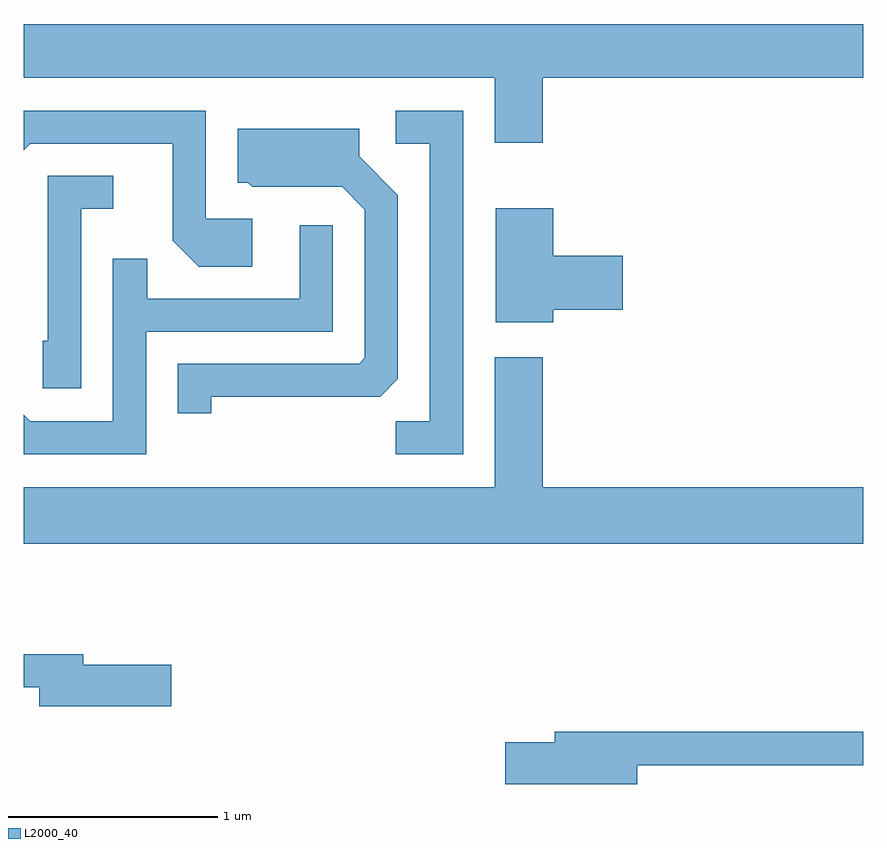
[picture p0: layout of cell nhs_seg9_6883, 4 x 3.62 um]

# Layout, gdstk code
import gdstk
lib = gdstk.Library(unit=1e-6, precision=1e-09)
def P(c, l, *ps):  # polygons
    for p in ps: c.add(gdstk.Polygon(p, *l))
L2000_40 = (2000, 40)

nhs_seg9_6883 = lib.new_cell('nhs_seg9_6883')
P(nhs_seg9_6883, L2000_40, [(387.611,2076.176),(389.856,2076.176),(389.856,2075.866),(390.084,2075.866),(390.084,2076.176),(391.611,2076.176),(391.611,2076.432),(387.611,2076.432)],
  [(388.699,2075.504),(388.479,2075.504),(388.479,2076.019),(387.611,2076.019),(387.611,2075.83),(387.642,2075.861),(388.321,2075.861),(388.321,2075.399),(388.444,2075.276),(388.699,2075.276)],
  [(389.704,2076.019),(389.383,2076.019),(389.383,2075.861),(389.546,2075.861),(389.546,2074.539),(389.383,2074.539),(389.383,2074.381),(389.704,2074.381)],
  [(388.504,2074.656),(389.309,2074.656),(389.394,2074.742),(389.394,2075.617),(389.209,2075.802),(389.209,2075.934),(388.631,2075.934),(388.631,2075.676),(388.679,2075.676),(388.699,2075.656),(389.129,2075.656),(389.236,2075.548),(389.236,2074.842),(389.209,2074.814),(388.346,2074.814),(388.346,2074.577),(388.504,2074.577)],
  [(387.884,2075.551),(388.038,2075.551),(388.038,2075.709),(387.726,2075.709),(387.726,2074.924),(387.701,2074.924),(387.701,2074.696),(387.884,2074.696)],
  [(390.134,2075.071),(390.464,2075.071),(390.464,2075.329),(390.134,2075.329),(390.134,2075.554),(389.861,2075.554),(389.861,2075.011),(390.134,2075.011)],
  [(388.194,2074.966),(389.084,2074.966),(389.084,2075.472),(388.926,2075.472),(388.926,2075.124),(388.199,2075.124),(388.199,2075.313),(388.036,2075.313),(388.036,2074.539),(387.642,2074.539),(387.611,2074.57),(387.611,2074.381),(388.194,2074.381)],
  [(391.611,2074.224),(390.084,2074.224),(390.084,2074.844),(389.856,2074.844),(389.856,2074.224),(387.611,2074.224),(387.611,2073.956),(391.611,2073.956)],
  [(388.314,2073.379),(387.894,2073.379),(387.894,2073.429),(387.611,2073.429),(387.611,2073.271),(387.686,2073.271),(387.686,2073.181),(388.314,2073.181)],
  [(390.534,2072.901),(391.611,2072.901),(391.611,2073.059),(390.141,2073.059),(390.141,2073.009),(389.906,2073.009),(389.906,2072.811),(390.534,2072.811)])

lib.write_gds('nhs_seg9_6883.gds')
